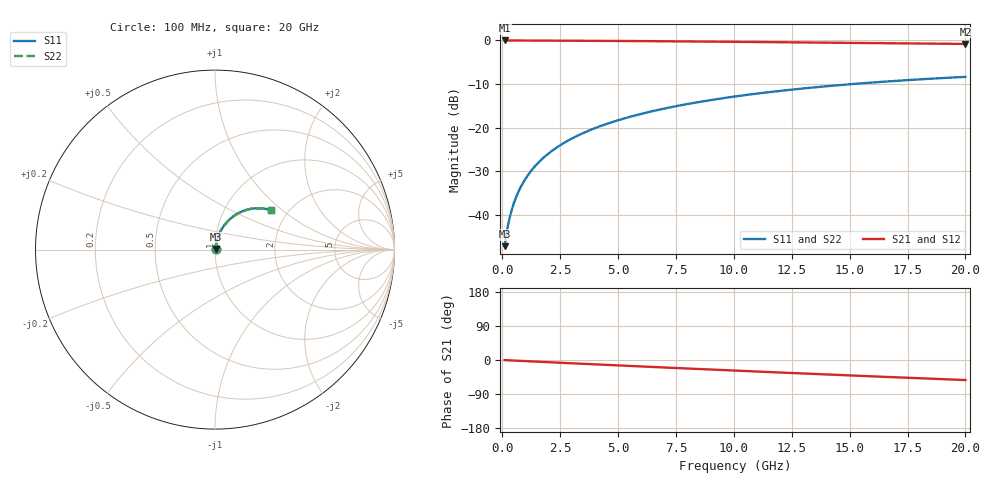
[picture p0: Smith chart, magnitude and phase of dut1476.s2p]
! Touchstone file exported from HFSS 2026.1.0
!  File:  C:/ffzhzh/LocalFiles/Ansys_Project_Files/temp_train_BSMRDL_1476_1783181211_18472.aedt
!  Generated:  12:08:15 AM Jul  5, 2026
!  Design:  BSMRDL
!  Project:  temp_train_BSMRDL_1476_1783181211_18472
! Variables:
!  h_bsmrdl = 5.06um
!  h_ox = 20um
!  h_rdl = 5um
!  h_sub = 80um
!  h_tmrdl = 5um
!  h_tsv = 80um
!  h_via = 3um
!  l_bsmrdl = 864.43um
!  l_sub = 1264.43um
!  l_tmrdl = 200um
!  m_sub = 200um
!  pitch = 37.61um
!  r_tsv = 6um
!  s_tmrdl = 10um
!  w_bsmrdl = 18.7um
!  w_sub = 500um
!  w_tmrdl = 12um
!  x_tsv_center1 = 206um
!  x_tsv_center2 = 1089.13um
!  x_tsv_center3 = 1301.13um
!  x_tsv_center4 = 2184.26um
!  x_tsv_center5 = 2396.26um
!  x_tsv_center6 = 3279.39um
# GHz S MA R 50.000000
! Terminal data exported
! Port[1] = BSM_RDL1_1_T1
! Port[2] = BSM_RDL1_1_T2
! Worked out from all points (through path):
!   200 points, 100 MHz to 20 GHz, reference 50 ohm
!   highest |S21| = -0.03 dB at 100 MHz (marker M1); lowest = -0.8 dB at 20 GHz (marker M2)
!   group delay of S21, straight-line fit = 7.34 ps
!   lowest |S11| = -47.1 dB at 100 MHz (marker M3), VSWR 1.01, Z = 50.3 + j0.284 ohm
!   |S11| at or under -10 dB: start of sweep to 15.13 GHz
!   |S22| runs from -47.1 to -8.4 dB; largest |S21 - S12| = 3.5e-15
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0.1  0.004416 39.6  0.9966 -0.3  0.9966 -0.3  0.004416 39.6
! Gamma 0 0 0 0
! Port Impedance 50 0 50 0
0.2  0.006587 56.3  0.9964 -0.6  0.9964 -0.6  0.006587 56.3
0.3  0.008925 64.0  0.9962 -0.9  0.9962 -0.9  0.008925 64.0
0.4  0.0113 68.5  0.996 -1.2  0.996 -1.2  0.0113 68.5
0.5  0.01371 71.4  0.9959 -1.5  0.9959 -1.5  0.01371 71.4
0.6  0.01614 73.5  0.9958 -1.8  0.9958 -1.8  0.01614 73.5
0.8  0.02105 76.0  0.9956 -2.3  0.9956 -2.3  0.02105 76.0
1.1  0.02849 77.8  0.9952 -3.2  0.9952 -3.2  0.02849 77.8
1.3  0.03347 78.3  0.9949 -3.8  0.9949 -3.8  0.03347 78.3
1.6  0.04093 78.6  0.9944 -4.7  0.9944 -4.7  0.04093 78.6
2.1  0.05328 78.2  0.9933 -6.1  0.9933 -6.1  0.05328 78.2
2.7  0.06793 77.2  0.9918 -7.8  0.9918 -7.8  0.06792 77.2
3.5  0.08708 75.4  0.9894 -10.1  0.9894 -10.1  0.08708 75.4
4.2  0.1035 73.7  0.987 -12.1  0.987 -12.1  0.1035 73.7
5  0.1218 71.7  0.9841 -14.3  0.9841 -14.3  0.1218 71.7
5.9  0.1419 69.5  0.9806 -16.8  0.9806 -16.8  0.1419 69.5
6.8  0.1615 67.2  0.9768 -19.2  0.9768 -19.2  0.1615 67.2
8.3  0.193 63.4  0.9701 -23.3  0.9701 -23.3  0.193 63.4
10.1  0.2288 58.9  0.9613 -28.1  0.9613 -28.1  0.2287 58.9
13.4  0.2884 50.7  0.9441 -36.7  0.9441 -36.7  0.2883 50.8
16.7  0.3395 42.7  0.9263 -44.9  0.9263 -44.9  0.3395 42.8
20  0.382 35.0  0.9094 -52.9  0.9094 -52.9  0.382 35.1
